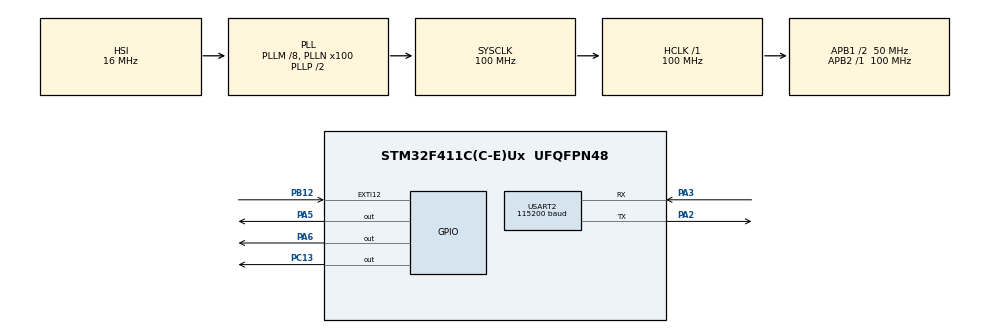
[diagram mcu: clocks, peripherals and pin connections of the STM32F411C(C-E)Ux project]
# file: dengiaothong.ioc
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Mcu.Family=STM32F4
Mcu.Name=STM32F411C(C-E)Ux
Mcu.Package=UFQFPN48
NVIC.EXTI15_10_IRQn=true\:0\:0\:false\:false\:true\:true\:true\:true
NVIC.PriorityGroup=NVIC_PRIORITYGROUP_4
NVIC.TIM2_IRQn=true\:0\:0\:false\:false\:true\:true\:true\:true
NVIC.USART2_IRQn=true\:0\:0\:false\:false\:true\:true\:true\:true
PA13.Mode=Serial_Wire
PA13.Signal=SYS_JTMS-SWDIO
PA14.Mode=Serial_Wire
PA14.Signal=SYS_JTCK-SWCLK
PA2.Mode=Asynchronous
PA2.Signal=USART2_TX
PA3.GPIO_PuPd=GPIO_PULLUP
PA3.Mode=Asynchronous
PA3.Signal=USART2_RX
PA5.Signal=GPIO_Output
PA6.Signal=GPIO_Output
PB12.GPIO_PuPd=GPIO_PULLUP
PB12.Signal=GPXTI12
PC13-ANTI_TAMP.Signal=GPIO_Output
ProjectManager.HeapSize=0x200
ProjectManager.StackSize=0x400
ProjectManager.TargetToolchain=STM32CubeIDE
RCC.48MHZClocksFreq_Value=50000000
RCC.AHBFreq_Value=100000000
RCC.APB1CLKDivider=RCC_HCLK_DIV2
RCC.APB1Freq_Value=50000000
RCC.APB1TimFreq_Value=100000000
RCC.APB2Freq_Value=100000000
RCC.APB2TimFreq_Value=100000000
RCC.CortexFreq_Value=100000000
RCC.HCLKFreq_Value=100000000
RCC.HSE_VALUE=25000000
RCC.HSI_VALUE=16000000
RCC.LSE_VALUE=32768
RCC.PLLM=8
RCC.PLLN=100
RCC.SYSCLKFreq_VALUE=100000000
RCC.SYSCLKSource=RCC_SYSCLKSOURCE_PLLCLK
RCC.VCOOutputFreq_Value=200000000
TIM2.Period=9999
TIM2.Prescaler=9999
USART2.BaudRate=115200
USART2.VirtualMode=VM_ASYNC
VP_TIM2_VS_ClockSourceINT.Mode=Internal
board=custom

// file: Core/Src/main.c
/* USER CODE BEGIN Header */
/**
  ******************************************************************************
  * @file           : main.c
  * @brief          : Main program body
  ******************************************************************************
  * @attention
  *
  * Copyright (c) 2025 STMicroelectronics.
  * All rights reserved.
  *
  * This software is licensed under terms that can be found in the LICENSE file
  * in the root directory of this software component.
  * If no LICENSE file comes with this software, it is provided AS-IS.
  *
  ******************************************************************************
  */
/* USER CODE END Header */
#include "main.h"

/* USER CODE BEGIN Includes */
#include <string.h>
#include <stdio.h>
#include <stdlib.h>
#include <ctype.h>
/* USER CODE END Includes */

/* USER CODE BEGIN PD */
#define LED_GREEN_PORT GPIOA
#define LED_GREEN_PIN  GPIO_PIN_6

#define LED_YELLOW_PORT GPIOC
#define LED_YELLOW_PIN  GPIO_PIN_13

#define LED_RED_PORT GPIOA
#define LED_RED_PIN  GPIO_PIN_5

#define BUTTON_PORT GPIOB
#define BUTTON_PIN GPIO_PIN_12

#define GREEN_MIN 15
#define GREEN_MAX 45
#define YELLOW_MIN 3
#define YELLOW_MAX 5
#define RED_MIN 15
#define RED_MAX 90
/* USER CODE END PD */

TIM_HandleTypeDef htim2;

UART_HandleTypeDef huart2;

/* USER CODE BEGIN PV */
static uint16_t time_green = 5;
static uint16_t time_yellow = 3;
static uint16_t time_red = 5;
static uint8_t just_switched_mode2 = 0;
/* USER CODE END PV */

/* USER CODE BEGIN PFP */
void SystemClock_Config(void);
static void MX_GPIO_Init(void);
static void MX_TIM2_Init(void);
static void MX_USART2_UART_Init(void);
/* USER CODE END PFP */

/* USER CODE BEGIN 0 */
typedef enum { MODE_1 = 1, MODE_2 = 2 } device_mode_t;
static device_mode_t current_mode = MODE_1;

typedef enum { PHASE_GREEN = 0, PHASE_YELLOW, PHASE_RED } phase_t;
static phase_t curr_phase = PHASE_GREEN;
static uint16_t phase_remaining = 0;

static uint8_t yellow_state = 0;

#define RX_BUF_SIZE 64
static uint8_t rx_byte;
static char rx_buf[RX_BUF_SIZE];
static uint8_t rx_idx = 0;

void set_leds(uint8_t g, uint8_t y, uint8_t r);
void apply_mode(device_mode_t m);
void toggle_mode(void);
void send_uart(const char *s);
void process_cmd(const char *s);

// -------------------- TIM2 CALLBACK ----------------------------
void HAL_TIM_PeriodElapsedCallback(TIM_HandleTypeDef *htim) {
    if (htim != &htim2) return;

    if (current_mode == MODE_1) {
        yellow_state = !yellow_state;
        set_leds(0, yellow_state, 0);
        return;
    }

    if (just_switched_mode2) {
        just_switched_mode2 = 0;
        curr_phase = PHASE_GREEN;
        phase_remaining = time_green;
        set_leds(1,0,0);
        return;
    }

    if (phase_remaining > 0) phase_remaining--;

    if (phase_remaining == 0) {
        switch (curr_phase) {
            case PHASE_GREEN:
                curr_phase = PHASE_YELLOW;
                phase_remaining = time_yellow;
                break;
            case PHASE_YELLOW:
                curr_phase = PHASE_RED;
                phase_remaining = time_red;
                break;
            case PHASE_RED:
                curr_phase = PHASE_GREEN;
                phase_remaining = time_green;
                break;
        }

        switch (curr_phase) {
            case PHASE_GREEN:  set_leds(1,0,0); break;
            case PHASE_YELLOW: set_leds(0,1,0); break;
            case PHASE_RED:    set_leds(0,0,1); break;
        }
    }
}

//----------------------- EXTI CALLBACK ----------------------
void HAL_GPIO_EXTI_Callback(uint16_t GPIO_Pin) {
    if (GPIO_Pin == BUTTON_PIN) {
        static uint32_t last = 0;
        uint32_t now = HAL_GetTick();

        if (now - last > 200) {
            toggle_mode();
        }
        last = now;
    }
}

//----------------------- UART CALLBACK ----------------------
void HAL_UART_RxCpltCallback(UART_HandleTypeDef *huart)
{
    if (huart == &huart2)
    {
        if (rx_byte == '\n')
        {
            rx_buf[rx_idx] = '\0';
            if (rx_idx > 0)
            {
                process_cmd(rx_buf);
            }

            rx_idx = 0;
            memset(rx_buf, 0, RX_BUF_SIZE);
        }
        else if (rx_byte != '\r')
        {
            if (rx_idx < RX_BUF_SIZE - 1)
            {
                rx_buf[rx_idx++] = rx_byte;
            }
            else
            {
                send_uart("ERROR: Buffer Full\r\n");
                rx_idx = 0;
                memset(rx_buf, 0, RX_BUF_SIZE);
            }
        }

        HAL_UART_Receive_IT(&huart2, &rx_byte, 1);
    }
}

//----------------------- CONFIGURATION ----------------------
void process_cmd(const char *cmd) {
    const char *p = cmd;

    send_uart("\r\n");
    send_uart("DBG RAW: ");
    for (const char *q = p; *q; q++) {
        char h[5];
        sprintf(h, "%02X ", (unsigned char)*q);
        send_uart(h);
    }
    send_uart("\r\n");

    send_uart("DBG CMD: ");
    send_uart(p);
    send_uart("\r\n");

    // -------- CFGTIME ----------
    if (strncmp(p, "CFGTIME", 7) == 0) {
        const char *num_str = p + 7;
        int g, y, r;

        if (strlen(num_str) == 6 &&
        		isdigit((unsigned char)num_str[0]) &&
        		isdigit((unsigned char)num_str[1]) &&
        		isdigit((unsigned char)num_str[2]) &&
        		isdigit((unsigned char)num_str[3]) &&
        		isdigit((unsigned char)num_str[4]) &&
        		isdigit((unsigned char)num_str[5])) {

            g = (num_str[0]-'0')*10 + (num_str[1]-'0');
            y = (num_str[2]-'0')*10 + (num_str[3]-'0');
            r = (num_str[4]-'0')*10 + (num_str[5]-'0');

            if (g >= GREEN_MIN && g <= GREEN_MAX &&
                y >= YELLOW_MIN && y <= YELLOW_MAX &&
                r >= RED_MIN && r <= RED_MAX) {

                time_green = g;
                time_yellow = y;
                time_red = r;

                send_uart("CFGTIME OK\r\n");

                if(current_mode == MODE_2){
                    curr_phase = PHASE_GREEN;
                    phase_remaining = time_green;
                    set_leds(1,0,0);
                }
                return;
            }
        }

        send_uart("CFGTIME FAIL\r\n");
        return;
    }

    // -------- CFGMODE ----------
    if (strncmp(p, "CFGMODE", 7) == 0) {
        char m = '0';

        if (sscanf(p, "CFGMODE %c", &m) != 1 &&
            sscanf(p, "CFGMODE%c", &m) != 1) {
            send_uart("CFGMODE FAIL\r\n");
            return;
        }

        if (m=='1' || m=='2') {
            current_mode = (m=='1') ? MODE_1 : MODE_2;
            apply_mode(current_mode);

            send_uart("CFGMODE OK\r\n");

            char out[20];
            sprintf(out, "MODE%c SELECTED\r\n", m);
            send_uart(out);
            return;
        }

        send_uart("CFGMODE FAIL\r\n");
        return;
    }

    send_uart("ERROR\r\n");
}

// --------	TOGGLE MODE ----------
void toggle_mode(void) {
    current_mode = (current_mode == MODE_1) ? MODE_2 : MODE_1;
    apply_mode(current_mode);

    char msg[20];
    sprintf(msg, "MODE%d SELECTED\r\n", current_mode);
    send_uart(msg);
}

// --------	APPLY MODE ----------
void apply_mode(device_mode_t m) {
    if (m == MODE_1) {
        yellow_state = 0;
        set_leds(0,0,0);
    } else {
        HAL_TIM_Base_Stop_IT(&htim2);

        set_leds(0,0,0);

        curr_phase = PHASE_GREEN;
        phase_remaining = time_green;

        set_leds(1,0,0);

        just_switched_mode2 = 1;
        HAL_TIM_Base_Start_IT(&htim2);
    }
}

// --------	SET LED ----------
void set_leds(uint8_t g, uint8_t y, uint8_t r) {
    HAL_GPIO_WritePin(LED_GREEN_PORT,  LED_GREEN_PIN,  g ? GPIO_PIN_SET : GPIO_PIN_RESET);
    HAL_GPIO_WritePin(LED_YELLOW_PORT, LED_YELLOW_PIN, y ? GPIO_PIN_RESET : GPIO_PIN_SET);
    HAL_GPIO_WritePin(LED_RED_PORT,    LED_RED_PIN,    r ? GPIO_PIN_SET : GPIO_PIN_RESET);
}

// --------	SEND UART ----------
void send_uart(const char *s) {
    HAL_UART_Transmit(&huart2, (uint8_t*)s, strlen(s), 1000);
}
/* USER CODE END 0 */

int main(void)
{

  /* MCU Configuration--------------------------------------------------------*/

  /* Reset of all peripherals, Initializes the Flash interface and the Systick. */
  HAL_Init();

  /* Configure the system clock */
  SystemClock_Config();

  /* Initialize all configured peripherals */
  MX_GPIO_Init();
  MX_TIM2_Init();
  MX_USART2_UART_Init();
  /* USER CODE BEGIN 2 */
  HAL_UART_Receive_IT(&huart2, &rx_byte, 1);
  HAL_TIM_Base_Start_IT(&htim2);
    current_mode = MODE_1;
    apply_mode(current_mode);
    if (current_mode == MODE_2) {
        curr_phase = PHASE_GREEN;
        phase_remaining = time_green;
    }
    send_uart("UART OK\r\n");
  /* USER CODE END 2 */

  /* Infinite loop */
  while (1)
  {

  }
}

void SystemClock_Config(void)
{
  RCC_OscInitTypeDef RCC_OscInitStruct = {0};
  RCC_ClkInitTypeDef RCC_ClkInitStruct = {0};

  /** Configure the main internal regulator output voltage
  */
  __HAL_RCC_PWR_CLK_ENABLE();
  __HAL_PWR_VOLTAGESCALING_CONFIG(PWR_REGULATOR_VOLTAGE_SCALE1);

  /** Initializes the RCC Oscillators according to the specified parameters
  * in the RCC_OscInitTypeDef structure.
  */
  RCC_OscInitStruct.OscillatorType = RCC_OSCILLATORTYPE_HSI;
  RCC_OscInitStruct.HSIState = RCC_HSI_ON;
  RCC_OscInitStruct.HSICalibrationValue = RCC_HSICALIBRATION_DEFAULT;
  RCC_OscInitStruct.PLL.PLLState = RCC_PLL_ON;
  RCC_OscInitStruct.PLL.PLLSource = RCC_PLLSOURCE_HSI;
  RCC_OscInitStruct.PLL.PLLM = 8;
  RCC_OscInitStruct.PLL.PLLN = 100;
  RCC_OscInitStruct.PLL.PLLP = RCC_PLLP_DIV2;
  RCC_OscInitStruct.PLL.PLLQ = 4;
  if (HAL_RCC_OscConfig(&RCC_OscInitStruct) != HAL_OK)
  {
    Error_Handler();
  }

  /** Initializes the CPU, AHB and APB buses clocks
  */
  RCC_ClkInitStruct.ClockType = RCC_CLOCKTYPE_HCLK|RCC_CLOCKTYPE_SYSCLK
                              |RCC_CLOCKTYPE_PCLK1|RCC_CLOCKTYPE_PCLK2;
  RCC_ClkInitStruct.SYSCLKSource = RCC_SYSCLKSOURCE_PLLCLK;
  RCC_ClkInitStruct.AHBCLKDivider = RCC_SYSCLK_DIV1;
  RCC_ClkInitStruct.APB1CLKDivider = RCC_HCLK_DIV2;
  RCC_ClkInitStruct.APB2CLKDivider = RCC_HCLK_DIV1;

  if (HAL_RCC_ClockConfig(&RCC_ClkInitStruct, FLASH_LATENCY_3) != HAL_OK)
  {
    Error_Handler();
  }
}

static void MX_TIM2_Init(void)
{

  TIM_ClockConfigTypeDef sClockSourceConfig = {0};
  TIM_MasterConfigTypeDef sMasterConfig = {0};

  htim2.Instance = TIM2;
  htim2.Init.Prescaler = 9999;
  htim2.Init.CounterMode = TIM_COUNTERMODE_UP;
  htim2.Init.Period = 9999;
  htim2.Init.ClockDivision = TIM_CLOCKDIVISION_DIV1;
  htim2.Init.AutoReloadPreload = TIM_AUTORELOAD_PRELOAD_DISABLE;
  if (HAL_TIM_Base_Init(&htim2) != HAL_OK)
  {
    Error_Handler();
  }
  sClockSourceConfig.ClockSource = TIM_CLOCKSOURCE_INTERNAL;
  if (HAL_TIM_ConfigClockSource(&htim2, &sClockSourceConfig) != HAL_OK)
  {
    Error_Handler();
  }
  sMasterConfig.MasterOutputTrigger = TIM_TRGO_RESET;
  sMasterConfig.MasterSlaveMode = TIM_MASTERSLAVEMODE_DISABLE;
  if (HAL_TIMEx_MasterConfigSynchronization(&htim2, &sMasterConfig) != HAL_OK)
  {
    Error_Handler();
  }

}

static void MX_USART2_UART_Init(void)
{

  huart2.Instance = USART2;
  huart2.Init.BaudRate = 115200;
  huart2.Init.WordLength = UART_WORDLENGTH_8B;
  huart2.Init.StopBits = UART_STOPBITS_1;
  huart2.Init.Parity = UART_PARITY_NONE;
  huart2.Init.Mode = UART_MODE_TX_RX;
  huart2.Init.HwFlowCtl = UART_HWCONTROL_NONE;
  huart2.Init.OverSampling = UART_OVERSAMPLING_16;
  if (HAL_UART_Init(&huart2) != HAL_OK)
  {
    Error_Handler();
  }

}

static void MX_GPIO_Init(void)
{
  GPIO_InitTypeDef GPIO_InitStruct = {0};

  /* GPIO Ports Clock Enable */
  __HAL_RCC_GPIOC_CLK_ENABLE();
  __HAL_RCC_GPIOA_CLK_ENABLE();
  __HAL_RCC_GPIOB_CLK_ENABLE();

  /*Configure GPIO pin Output Level */
  HAL_GPIO_WritePin(GPIOC, GPIO_PIN_13, GPIO_PIN_RESET);

  /*Configure GPIO pin Output Level */
  HAL_GPIO_WritePin(GPIOA, GPIO_PIN_5|GPIO_PIN_6, GPIO_PIN_RESET);

  /*Configure GPIO pin : PC13 */
  GPIO_InitStruct.Pin = GPIO_PIN_13;
  GPIO_InitStruct.Mode = GPIO_MODE_OUTPUT_PP;
  GPIO_InitStruct.Pull = GPIO_NOPULL;
  GPIO_InitStruct.Speed = GPIO_SPEED_FREQ_LOW;
  HAL_GPIO_Init(GPIOC, &GPIO_InitStruct);

  /*Configure GPIO pins : PA5 PA6 */
  GPIO_InitStruct.Pin = GPIO_PIN_5|GPIO_PIN_6;
  GPIO_InitStruct.Mode = GPIO_MODE_OUTPUT_PP;
  GPIO_InitStruct.Pull = GPIO_NOPULL;
  GPIO_InitStruct.Speed = GPIO_SPEED_FREQ_LOW;
  HAL_GPIO_Init(GPIOA, &GPIO_InitStruct);

  /*Configure GPIO pin : PB12 */
  GPIO_InitStruct.Pin = GPIO_PIN_12;
  GPIO_InitStruct.Mode = GPIO_MODE_IT_RISING;
  GPIO_InitStruct.Pull = GPIO_PULLUP;
  HAL_GPIO_Init(GPIOB, &GPIO_InitStruct);

  /* EXTI interrupt init*/
  HAL_NVIC_SetPriority(EXTI15_10_IRQn, 0, 0);
  HAL_NVIC_EnableIRQ(EXTI15_10_IRQn);

}

void Error_Handler(void)
{
  __disable_irq();
  while (1)
  {
  }
}
